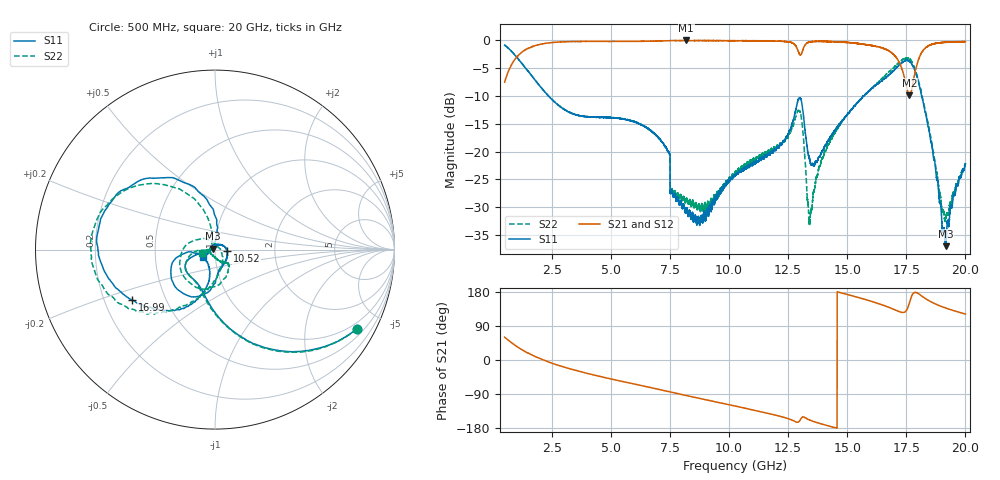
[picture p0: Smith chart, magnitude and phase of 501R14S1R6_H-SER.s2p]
!{501R14S1R6}
!Johanson Technology Inc.
!www.johansontechnology.com
!Test Board Conditions:
!Substrate Type  RO4350B
!Substrate Thickness  20 mil
!Substrate Dk  3.66
!TL Type: GCPW
!TL Trace Width  36 mil
!TL Gap  12 mil
!Electrode orientation  Horizontal
!DUT TOPOLOGY	SERIES
!Mounting Pad LxW  26x36 mil
! Created Wed Mar 11 15:55:52 2020
# mhz S ma R 50
! 2 Port Network Data from SP1.SP block
! freq  magS11  angS11  magS21  angS21  magS12  angS12  magS22  angS22
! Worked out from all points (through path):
!   19501 points, 500 MHz to 20 GHz, reference 50 ohm
!   highest |S21| = -0.04 dB at 8.189 GHz (marker M1); lowest = -9.9 dB at 17.63 GHz (marker M2)
!   group delay of S21, straight-line fit = 38.1 ps
!   lowest |S11| = -37.0 dB at 19.16 GHz (marker M3), VSWR 1.03, Z = 48.7 + j0.491 ohm
!   |S11| at or under -10 dB: 2.354 GHz to 15.7 GHz (13.35 GHz wide, 148 % of centre); 15.70696 GHz to 15.70704 GHz (81.67 kHz wide, 0.00052 % of centre); 18.15 GHz to end of sweep
!   |S22| runs from -33.2 to -0.9 dB; largest |S21 - S12| = 0.016
!   S11 on the Smith chart (normalised r, x): 500 MHz: 0.76, -3.69; 10.52 GHz: 1.14, -0.02; 16.99 GHz: 0.32, -0.25; 20 GHz: 0.87, -0.07
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500  0.9049 -29.2  0.4196 60.3  0.4207 60.5  0.905 -29.3
1843  0.4244 -81.7  0.9003 7.8  0.9015 7.8  0.4244 -82.1
3750  0.209 -120.3  0.9748 -31.4  0.9761 -31.4  0.2088 -122.4
7000  0.1334 -162.4  0.9842 -77.2  0.9856 -77.2  0.1335 -169.3
7403  0.101 -165.8  0.9883 -82.8  0.9881 -82.8  0.1014 -176.6
7598  0.0416 -161.1  0.9936 -85.4  0.9931 -85.5  0.04454 -176.9
8189  0.02951 172.6  0.9954 -93.7  0.992 -93.7  0.03775 -174.5
8821  0.02666 105.6  0.9943 -102.3  0.9941 -102.3  0.0325 -141.8
10250  0.06046 7.3  0.9912 -121.5  0.9906 -121.4  0.06518 -73.2
10519  0.0671 -6.4  0.9887 -125.1  0.9905 -125.0  0.07316 -66.5
12287  0.1249 -79.9  0.977 -150.8  0.9781 -150.6  0.1244 -50.7
12958  0.2993 -123.9  0.7645 -162.3  0.7667 -162.3  0.2321 -127.1
13359  0.0926 -165.4  0.9564 -157.0  0.9559 -157.0  0.03088 72.6
13500  0.07729 -146.2  0.9725 -160.6  0.97 -160.6  0.03019 -7.4
14363  0.142 -102.1  0.9723 -176.6  0.9708 -176.5  0.1327 -80.7
16750  0.4845 -138.5  0.8075 139.4  0.7942 139.0  0.5184 -136.2
16990  0.5396 -148.6  0.7343 133.1  0.7244 132.9  0.5751 -144.8
17631  0.6465 159.4  0.3211 150.8  0.3185 151.3  0.6816 167.7
17899  0.5038 127.7  0.5514 178.2  0.5508 179.4  0.5275 136.2
18255  0.2496 96.6  0.8316 164.3  0.832 164.9  0.2636 109.2
19165  0.01411 159.1  0.9566 137.2  0.9554 137.6  0.02485 161.1
20000  0.07754 -148.7  0.9701 121.2  0.9704 121.5  0.07452 -163.2
